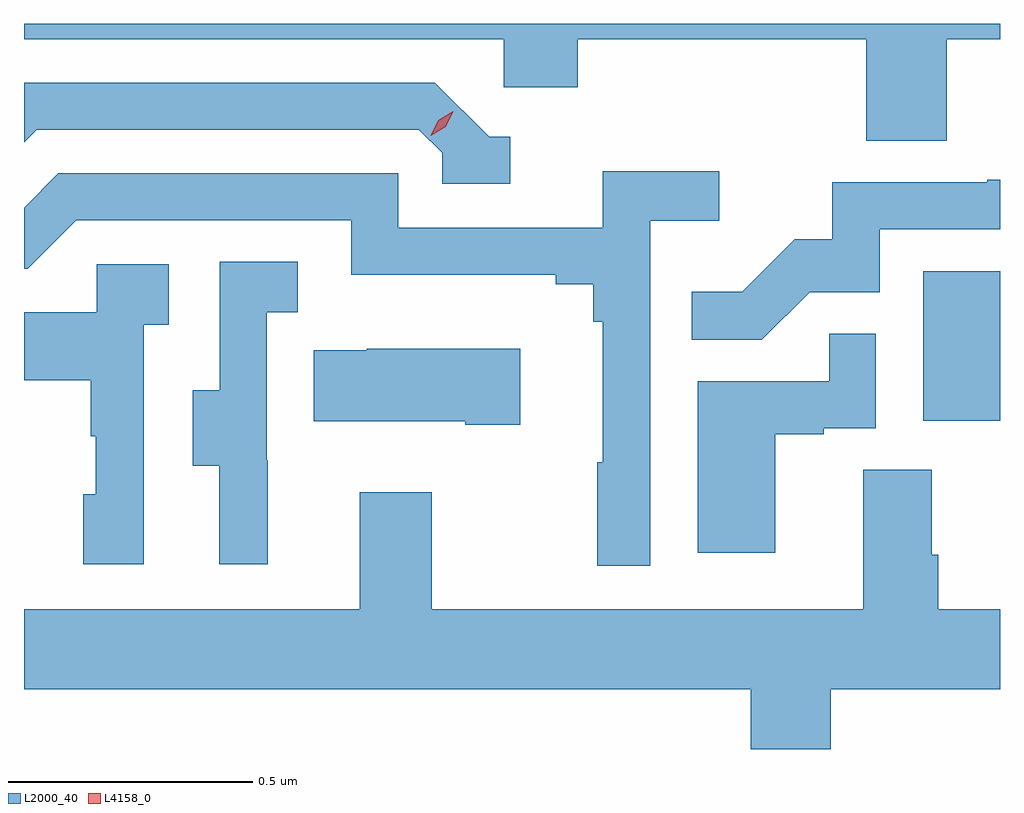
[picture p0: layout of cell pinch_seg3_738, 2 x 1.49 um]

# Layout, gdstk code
import gdstk
lib = gdstk.Library(unit=1e-6, precision=1e-09)
def R(c, l, rs):  # rectangles x0, y0, x1, y1
    for r in rs: c.add(gdstk.rectangle(r[:2], r[2:], *l))
def P(c, l, *ps):  # polygons
    for p in ps: c.add(gdstk.Polygon(p, *l))
L2000_40 = (2000, 40)
L4158_0 = (4158, 0)

pinch_seg3_738 = lib.new_cell('pinch_seg3_738')
R(pinch_seg3_738, L2000_40, [(884.642,748.086,884.799,748.393)])
P(pinch_seg3_738, L2000_40, [(884.69,748.868),(884.799,748.868),(884.799,748.9),(882.799,748.9),(882.799,748.868),(883.782,748.868),(883.782,748.77),(883.934,748.77),(883.934,748.868),(884.525,748.868),(884.525,748.66),(884.69,748.66)],
  [(883.795,748.668),(883.752,748.668),(883.641,748.779),(882.799,748.779),(882.799,748.657),(882.825,748.683),(883.608,748.683),(883.656,748.635),(883.656,748.572),(883.795,748.572)],
  [(884.082,748.496),(884.224,748.496),(884.224,748.598),(883.985,748.598),(883.985,748.482),(883.566,748.482),(883.566,748.593),(882.869,748.593),(882.799,748.523),(882.799,748.398),(882.807,748.398),(882.906,748.497),(883.47,748.497),(883.47,748.385),(883.889,748.385),(883.889,748.366),(883.966,748.366),(883.966,748.289),(883.985,748.289),(883.985,748.001),(883.974,748.001),(883.974,747.789),(884.082,747.789)],
  [(884.409,748.35),(884.553,748.35),(884.553,748.479),(884.799,748.479),(884.799,748.58),(884.773,748.58),(884.773,748.575),(884.455,748.575),(884.455,748.458),(884.378,748.458),(884.271,748.351),(884.167,748.351),(884.167,748.252),(884.311,748.252)],
  [(883.298,748.005),(883.296,748.005),(883.296,748.309),(883.36,748.309),(883.36,748.412),(883.2,748.412),(883.2,748.149),(883.145,748.149),(883.145,747.994),(883.199,747.994),(883.199,747.792),(883.298,747.792)],
  [(883.044,748.283),(883.096,748.283),(883.096,748.407),(882.948,748.407),(882.948,748.309),(882.799,748.309),(882.799,748.169),(882.936,748.169),(882.936,748.055),(882.946,748.055),(882.946,747.936),(882.92,747.936),(882.92,747.792),(883.044,747.792)],
  [(884.338,748.059),(884.438,748.059),(884.438,748.071),(884.544,748.071),(884.544,748.265),(884.449,748.265),(884.449,748.167),(884.18,748.167),(884.18,747.816),(884.338,747.816)],
  [(883.816,748.234),(883.501,748.234),(883.501,748.231),(883.393,748.231),(883.393,748.085),(883.703,748.085),(883.703,748.078),(883.816,748.078)],
  [(884.452,747.536),(884.799,747.536),(884.799,747.7),(884.672,747.7),(884.672,747.812),(884.659,747.812),(884.659,747.986),(884.519,747.986),(884.519,747.7),(883.635,747.7),(883.635,747.94),(883.487,747.94),(883.487,747.7),(882.799,747.7),(882.799,747.536),(884.288,747.536),(884.288,747.413),(884.452,747.413)])
P(pinch_seg3_738, L4158_0, [(883.632,748.67),(883.632,748.67),(883.648,748.702),(883.679,748.721),(883.679,748.721),(883.679,748.721),(883.663,748.689),(883.632,748.67)])

lib.write_gds('pinch_seg3_738.gds')
